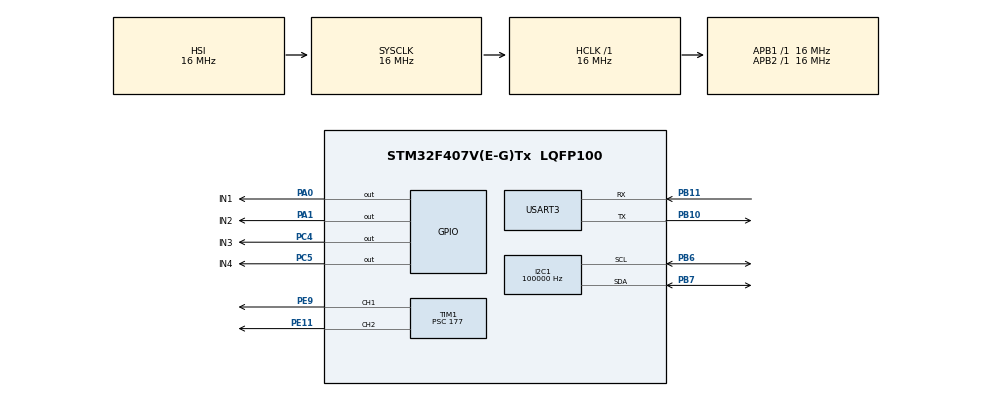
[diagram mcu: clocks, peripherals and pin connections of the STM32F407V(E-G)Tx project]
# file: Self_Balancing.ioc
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I2C1.ClockSpeed=100000
I2C1.I2C_Mode=I2C_Standard
Mcu.Family=STM32F4
Mcu.Name=STM32F407V(E-G)Tx
Mcu.Package=LQFP100
NVIC.PriorityGroup=NVIC_PRIORITYGROUP_4
NVIC.TIM3_IRQn=true\:0\:0\:false\:false\:true\:true\:true
PA0-WKUP.GPIO_Label=IN1
PA0-WKUP.GPIO_Speed=GPIO_SPEED_FREQ_HIGH
PA0-WKUP.Signal=GPIO_Output
PA1.GPIO_Label=IN2
PA1.GPIO_Speed=GPIO_SPEED_FREQ_HIGH
PA1.Signal=GPIO_Output
PB10.Mode=Asynchronous
PB10.Signal=USART3_TX
PB11.Mode=Asynchronous
PB11.Signal=USART3_RX
PB6.Mode=I2C
PB6.Signal=I2C1_SCL
PB7.Mode=I2C
PB7.Signal=I2C1_SDA
PC4.GPIO_Label=IN3
PC4.GPIO_Speed=GPIO_SPEED_FREQ_HIGH
PC4.Signal=GPIO_Output
PC5.GPIO_Label=IN4
PC5.GPIO_Speed=GPIO_SPEED_FREQ_VERY_HIGH
PC5.Signal=GPIO_Output
PE11.Signal=S_TIM1_CH2
PE9.Signal=S_TIM1_CH1
ProjectManager.HeapSize=0x200
ProjectManager.StackSize=0x400
ProjectManager.TargetToolchain=STM32CubeIDE
RCC.AHBFreq_Value=16000000
RCC.APB1Freq_Value=16000000
RCC.APB2Freq_Value=16000000
RCC.CortexFreq_Value=16000000
RCC.HSE_VALUE=25000000
RCC.HSI_VALUE=16000000
RCC.LSE_VALUE=32768
RCC.SYSCLKFreq_VALUE=16000000
RCC.VCOOutputFreq_Value=192000000
SH.S_TIM1_CH1.0=TIM1_CH1,PWM Generation1 CH1
SH.S_TIM1_CH2.0=TIM1_CH2,PWM Generation2 CH2
TIM1.Channel-PWM\ Generation1\ CH1=TIM_CHANNEL_1
TIM1.Channel-PWM\ Generation2\ CH2=TIM_CHANNEL_2
TIM1.Period=1800
TIM1.Prescaler=177
TIM3.Period=99
TIM3.Prescaler=1599
USART3.VirtualMode=VM_ASYNC
VP_TIM3_VS_ClockSourceINT.Mode=Internal
board=custom

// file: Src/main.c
/* USER CODE BEGIN Header */
/**
  ******************************************************************************
  * @file           : main.c
  * @brief          : Main program body
  ******************************************************************************
  * @attention
  *
  * <h2><center>&copy; Copyright (c) 2020 STMicroelectronics.
  * All rights reserved.</center></h2>
  *
  * This software component is licensed by ST under BSD 3-Clause license,
  * the "License"; You may not use this file except in compliance with the
  * License. You may obtain a copy of the License at:
  *                        opensource.org/licenses/BSD-3-Clause
  *
  ******************************************************************************
  */
/* USER CODE END Header */

#include "main.h"
#include "i2c.h"
#include "tim.h"
#include "usart.h"
#include "gpio.h"

/* USER CODE BEGIN Includes */
#include"stdio.h"
#include"string.h"
#include <math.h>
#define MPU6050_AD 0xd0
/* USER CODE END Includes */

/* USER CODE BEGIN PV */
uint8_t DatoRecibido[15];
uint8_t DatoEnviado[2];
/* USER CODE END PV */

void SystemClock_Config(void);
/* USER CODE BEGIN PFP */
void configurarMPU6050();
/* USER CODE END PFP */

int main(void)
{

  /* MCU Configuration--------------------------------------------------------*/

  /* Reset of all peripherals, Initializes the Flash interface and the Systick. */
  HAL_Init();

  /* Configure the system clock */
  SystemClock_Config();

  /* Initialize all configured peripherals */
  MX_GPIO_Init();
  MX_I2C1_Init();
  MX_TIM1_Init();
  MX_TIM3_Init();
  MX_USART3_UART_Init();
  /* USER CODE BEGIN 2 */
  configurarMPU6050();
  HAL_TIM_PWM_Start(&htim1,TIM_CHANNEL_1);
  HAL_TIM_PWM_Start(&htim1,TIM_CHANNEL_2);
  HAL_TIM_Base_Start_IT(&htim3);
  /* USER CODE END 2 */

  /* Infinite loop */
  while (1)
  {

    /* USER CODE BEGIN 3 */
	  //sprintf(bufer,"Y: %i \n",Y_b);
	  //HAL_UART_Transmit(&huart3, (uint8_t*)bufer, (uint16_t)strlen(bufer), (uint32_t)100);
  }
  /* USER CODE END 3 */
}

void SystemClock_Config(void)
{
  RCC_OscInitTypeDef RCC_OscInitStruct = {0};
  RCC_ClkInitTypeDef RCC_ClkInitStruct = {0};

  /** Configure the main internal regulator output voltage
  */
  __HAL_RCC_PWR_CLK_ENABLE();
  __HAL_PWR_VOLTAGESCALING_CONFIG(PWR_REGULATOR_VOLTAGE_SCALE1);
  /** Initializes the CPU, AHB and APB busses clocks
  */
  RCC_OscInitStruct.OscillatorType = RCC_OSCILLATORTYPE_HSI;
  RCC_OscInitStruct.HSIState = RCC_HSI_ON;
  RCC_OscInitStruct.HSICalibrationValue = RCC_HSICALIBRATION_DEFAULT;
  RCC_OscInitStruct.PLL.PLLState = RCC_PLL_NONE;
  if (HAL_RCC_OscConfig(&RCC_OscInitStruct) != HAL_OK)
  {
    Error_Handler();
  }
  /** Initializes the CPU, AHB and APB busses clocks
  */
  RCC_ClkInitStruct.ClockType = RCC_CLOCKTYPE_HCLK|RCC_CLOCKTYPE_SYSCLK
                              |RCC_CLOCKTYPE_PCLK1|RCC_CLOCKTYPE_PCLK2;
  RCC_ClkInitStruct.SYSCLKSource = RCC_SYSCLKSOURCE_HSI;
  RCC_ClkInitStruct.AHBCLKDivider = RCC_SYSCLK_DIV1;
  RCC_ClkInitStruct.APB1CLKDivider = RCC_HCLK_DIV1;
  RCC_ClkInitStruct.APB2CLKDivider = RCC_HCLK_DIV1;

  if (HAL_RCC_ClockConfig(&RCC_ClkInitStruct, FLASH_LATENCY_0) != HAL_OK)
  {
    Error_Handler();
  }
}

/* USER CODE BEGIN 4 */
void configurarMPU6050(){
	   DatoEnviado[0]=0x6B;
	   DatoEnviado[1]=0x00;
	   HAL_I2C_Master_Transmit(&hi2c1,(uint16_t)MPU6050_AD,DatoEnviado,2,100);
	   DatoEnviado[0]=0x19;
	   DatoEnviado[1]=0x07;
	   HAL_I2C_Master_Transmit(&hi2c1,(uint16_t)MPU6050_AD,DatoEnviado,2,100);
	   DatoEnviado[0]=0x19;
	   DatoEnviado[1]=0x07;
	   HAL_I2C_Master_Transmit(&hi2c1,(uint16_t)MPU6050_AD,DatoEnviado,2,100);
}

/* USER CODE END 4 */

void Error_Handler(void)
{
}

/************************ (C) COPYRIGHT STMicroelectronics *****END OF FILE****/
